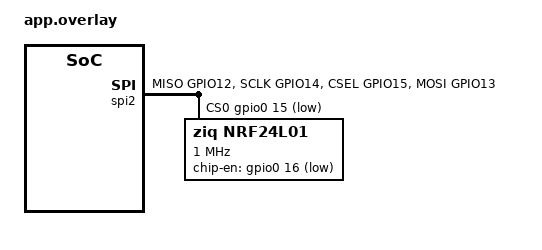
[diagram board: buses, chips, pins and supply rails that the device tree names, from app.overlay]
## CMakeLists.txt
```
cmake_minimum_required(VERSION 3.20.0)

find_package(Zephyr REQUIRED HINTS $ENV{ZEPHYR_BASE})

project(nrf24l01)

zephyr_include_directories(drivers/nrf24l01)

target_sources(app PRIVATE src/main.c)
add_subdirectory(drivers/nrf24l01)
```

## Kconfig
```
mainmenu "NRF24L01 Radio sensor"

source "Kconfig.zephyr"

rsource "drivers/nrf24l01/Kconfig"
```

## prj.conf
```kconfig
CONFIG_NRF24L01=y
CONFIG_LOG=y
CONFIG_NRF24L01_LOG_LEVEL_DBG=y
```

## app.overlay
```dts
&pinctrl{
    nrf_default: nrf_default {
            group1 {
                pinmux = <SPIM2_MISO_GPIO12>,
                    <SPIM2_SCLK_GPIO14>,
                    <SPIM2_CSEL_GPIO15>;
            };

            group2 {
                pinmux = <SPIM2_MOSI_GPIO13>;
                output-low;
            };
    };
};

&spi2{
    #address-cells = <1>;
    #size-cells = <0>;
    status = "okay";
    cs-gpios = <&gpio0 15 GPIO_ACTIVE_LOW>;
    pinctrl-0 = <&nrf_default>;
    pinctrl-names = "default";

    nrf24l01:nrf24l01@0{
        compatible = "ziq,nrf24l01";
        reg = <0>;
        spi-max-frequency= <1000000>;
        chip-en-gpios = <&gpio0 16 GPIO_ACTIVE_LOW>;
    };
};
```

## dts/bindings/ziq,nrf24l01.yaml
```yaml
description: NRF24L01 RF

compatible: "ziq,nrf24l01"

include: spi-device.yaml

properties:
  chip-en-gpios:
    type: phandle-array
    required: true
    description: nrf24l01 Chip enable pin we need gpio pin
```

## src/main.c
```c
#include <zephyr/kernel.h>
#include <zephyr/device.h>
#include <zephyr/logging/log.h>
#include <ctype.h>
#include "nrf24l01.h"


LOG_MODULE_REGISTER(main,CONFIG_NRF24L01_LOG_LEVEL);

static const struct device *const nrfdev = DEVICE_DT_GET(DT_NODELABEL(nrf24l01));

int main(void)
{

    
    if(!device_is_ready(nrfdev)){
        LOG_ERR("NRF24L01 device is not ready");
        return -ENODEV;
    }

    LOG_INF("Device are ready to communication");

    /* 2. Replaces: open_tx_pipe, open_rx_pipe, stop_listening */
    nrf24_open_tx_pipe(nrfdev);
    nrf24_open_rx_pipe(nrfdev, 1);
    nrf24_stop_listening(nrfdev);

    /* 3. Replaces: counter = 0; while True: ... */
    int32_t counter = 0;

    while (1) {
        /* Replaces: struct.pack("i", counter) -> passes &counter and sizeof(counter) */
        int ret = nrf24_send(nrfdev, (const uint8_t *)&counter, sizeof(counter), 500);

        if (ret == 0) {
            printk("Sent: %d\n", counter);
            counter++;
        } else {
            /* Replaces: except OSError: */
            printk("Transmission failed (err: %d)\n", ret);
        }

        /* Replaces: time.sleep(1) */
        k_sleep(K_SECONDS(1));
    }

    return 0;
 
}
```
